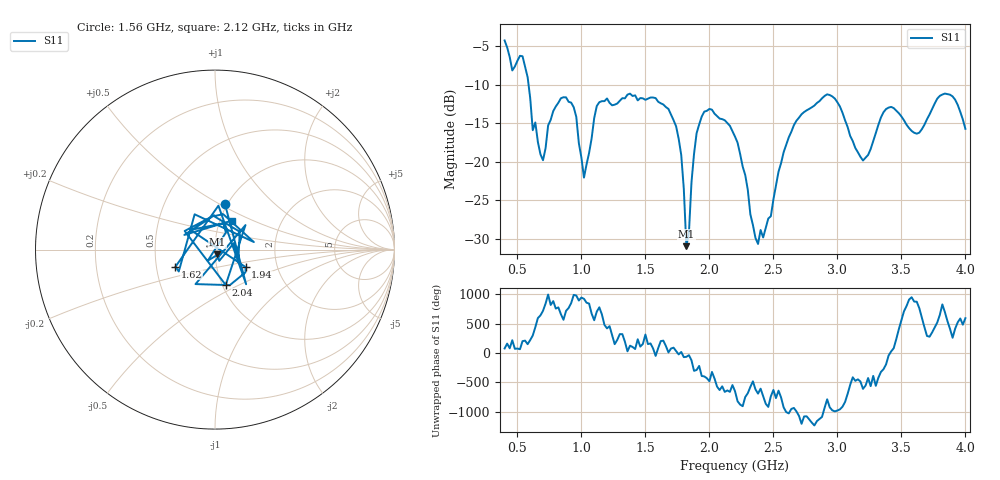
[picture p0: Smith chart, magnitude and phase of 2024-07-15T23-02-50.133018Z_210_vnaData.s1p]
!Created with skrf (http://scikit-rf.org).
# Hz S RI R 50.0
!freq ReS11 ImS11
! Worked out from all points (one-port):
!   181 points, 400 MHz to 4 GHz, reference 50 ohm
!   lowest |S11| = -30.9 dB at 1.82 GHz (marker M1), VSWR 1.06, Z = 51.2 - j2.61 ohm
!   |S11| at or under -10 dB: 587.3 MHz to end of sweep
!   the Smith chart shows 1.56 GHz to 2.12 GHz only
!   S11 on the Smith chart (normalised r, x): 1.56 GHz: 0.97, +0.53; 1.62 GHz: 0.63, -0.13; 1.94 GHz: 1.38, -0.28; 2.04 GHz: 1.04, -0.43; 2.12 GHz: 1.14, +0.38
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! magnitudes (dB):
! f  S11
! 400 MHz  -4.2
! 460 MHz  -8.1
! 540 MHz  -6.3
! 620 MHz  -15.9
! 700 MHz  -19.8
! 860 MHz  -11.6
! 960 MHz  -14.2
! 1.02 GHz  -22.0
! 1.12 GHz  -12.7
! 1.3 GHz  -12.1
! 1.56 GHz  -11.6
! 1.62 GHz  -12.4
! 1.76 GHz  -17.0
! 1.82 GHz  -30.9
! 1.88 GHz  -19.0
! 1.94 GHz  -14.1
! 2.04 GHz  -13.7
! 2.12 GHz  -14.6
! 2.2 GHz  -16.7
! 2.38 GHz  -30.7
! 2.66 GHz  -15.2
! 2.92 GHz  -11.2
! 3.1 GHz  -16.6
! 3.2 GHz  -19.8
! 3.38 GHz  -13.1
! 3.56 GHz  -15.6
! 3.84 GHz  -11.1
! 4 GHz  -15.7
